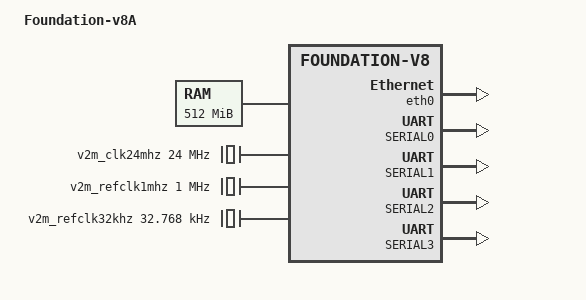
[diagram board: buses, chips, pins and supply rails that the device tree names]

#include <dt-bindings/interrupt-controller/arm-gic.h>

/memreserve/ 0x80000000 0x00020000;
/memreserve/ 0x80800000 0x01000000;

/ {
	model = "Foundation-v8A";
	compatible = "arm,foundation-aarch64", "arm,foundation-v8";
	interrupt-parent = <&gic>;
	#address-cells = <2>;
	#size-cells = <2>;

	chosen {
		initrd-start = <0x0 0x80800000>;
		initrd-end = <0x0 0x81800000>;
	};
	aliases { };
		
	cpus {
		#address-cells = <2>;
		#size-cells = <0>;

		cpu@0 {
			device_type = "cpu";
			compatible = "arm,armv8";
			model = "Cortex-A57";
			reg = <0x0 0x0>;
			enable-method = "spin-table";
			cpu-release-addr = <0x0 0x8000fff8>;
		};

		cpu@1 {
			device_type = "cpu";
			compatible = "arm,armv8";
			model = "Cortex-A57";
			reg = <0x0 0x1>;
			enable-method = "spin-table";
			cpu-release-addr = <0x0 0x8000fff8>;
		};

		cpu@2 {
			device_type = "cpu";
			compatible = "arm,armv8";
			model = "Cortex-A57";
			reg = <0x0 0x2>;
			enable-method = "spin-table";
			cpu-release-addr = <0x0 0x8000fff8>;
		};

		cpu@3 {
			device_type = "cpu";
			compatible = "arm,armv8";
			model = "Cortex-A57";
			reg = <0x0 0x3>;
			enable-method = "spin-table";
			cpu-release-addr = <0x0 0x8000fff8>;
		};
	};

	memory {
		device_type = "memory"; 
		reg = <0x0 0x80000000 0x0 0x20000000>; /* 512 MB */
	};

	gen-timer { /* Generic Timer */
		compatible = "arm,armv8-timer";
		clock-frequency = <100000000>;
		interrupts = <GIC_PPI 13 (GIC_CPU_MASK_SIMPLE(6) | IRQ_TYPE_LEVEL_LOW)>,
			     <GIC_PPI 14 (GIC_CPU_MASK_SIMPLE(6) | IRQ_TYPE_LEVEL_LOW)>,
			     <GIC_PPI 11 (GIC_CPU_MASK_SIMPLE(6) | IRQ_TYPE_LEVEL_LOW)>,
			     <GIC_PPI 10 (GIC_CPU_MASK_SIMPLE(6) | IRQ_TYPE_LEVEL_LOW)>;
	};

	motherboard {
		#address-cells = <1>;
		#size-cells = <1>;
		compatible = "simple-bus";

		eth0 { /* SMSC 91C111 ethernet */
			compatible = "smc91x";
			reg = <0x1a000000 0x10000>;
			interrupts = <GIC_SPI 15 IRQ_TYPE_LEVEL_HIGH>;
			switch = "br0";
		};

		sysreg { /* System registers */
			compatible = "arm,vexpress-sysreg";
			reg = <0x1c010000 0x1000>;
		};

		SERIAL0: uart0 { /* PL011 serial port */
			compatible = "arm,pl011";
			reg = <0x1c090000 0x1000>;
			clock-frequency = <24000000>;
			interrupts = <GIC_SPI 5 IRQ_TYPE_LEVEL_HIGH>;
		};

		SERIAL1: uart1 { /* PL011 serial port */
			compatible = "arm,pl011";
			reg = <0x1c0a0000 0x1000>;
			clock-frequency = <24000000>;
			interrupts = <GIC_SPI 6 IRQ_TYPE_LEVEL_HIGH>;
		};

		SERIAL2: uart2 { /* PL011 serial port */
			compatible = "arm,pl011";
			reg = <0x1c0b0000 0x1000>;
			clock-frequency = <24000000>;
			interrupts = <GIC_SPI 7 IRQ_TYPE_LEVEL_HIGH>;
		};

		SERIAL3: uart3 { /* PL011 serial port */
			compatible = "arm,pl011";
			reg = <0x1c0c0000 0x1000>;
			clock-frequency = <24000000>;
			interrupts = <GIC_SPI 8 IRQ_TYPE_LEVEL_HIGH>;
		};

		RTC0: rtc { /* PL031 real-time clock */
			compatible = "arm,pl031";
			reg = <0x1c170000 0x1000>;
			clocks = <&v2m_clk24mhz>;
			clock-names = "apb_pclk";
			interrupts = <GIC_SPI 4 IRQ_TYPE_LEVEL_HIGH>;
		};

		clcd {
			compatible = "arm,pl111";
			reg = <0x1c1f0000 0x1000>;
			clocks = <&v2m_clk24mhz>, <&v2m_clk24mhz>;
			clock-names = "clcdclk", "apb_pclk";
			use_dma = <0>;
			framebuffer = <0x18000000 0x00180000>;
		};
	};

	clocks {
		#address-cells = <1>;
		#size-cells = <0>;

		v2m_clk24mhz: clk24mhz {
			compatible = "fixed-clock";
			#clock-cells = <0>;
			clock-frequency = <24000000>;
			clock-output-names = "v2m:clk24mhz";
		};

		v2m_refclk1mhz: refclk1mhz {
			compatible = "fixed-clock";
			#clock-cells = <0>;
			clock-frequency = <1000000>;
			clock-output-names = "v2m:refclk1mhz";
		};

		v2m_refclk32khz: refclk32khz {
			compatible = "fixed-clock";
			#clock-cells = <0>;
			clock-frequency = <32768>;
			clock-output-names = "v2m:refclk32khz";
		};
	};
};
